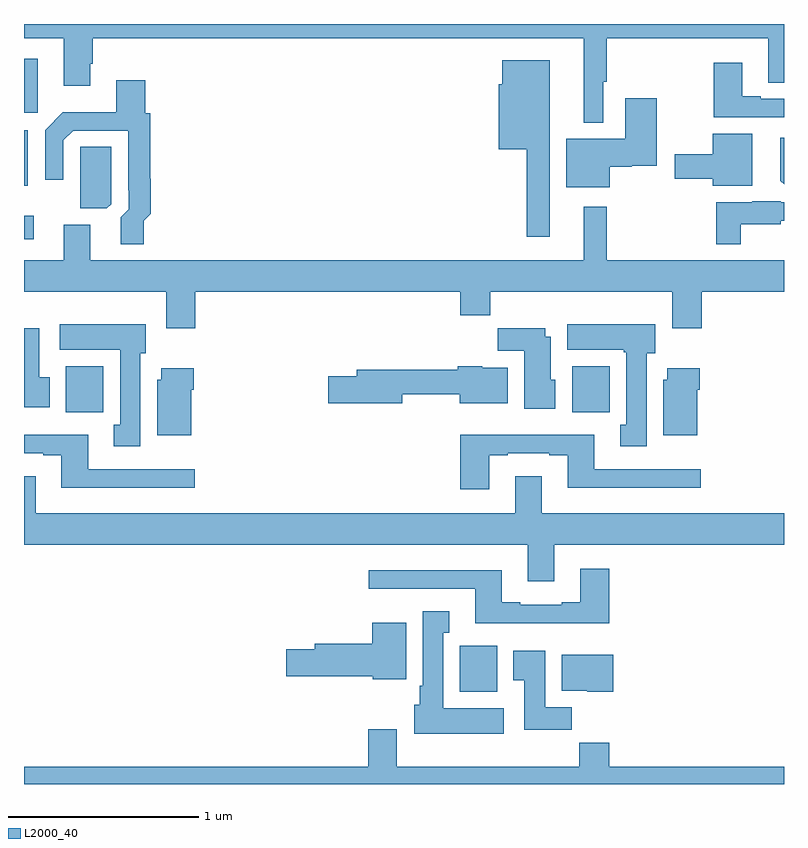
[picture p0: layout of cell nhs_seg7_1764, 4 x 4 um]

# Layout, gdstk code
import gdstk
lib = gdstk.Library(unit=1e-6, precision=1e-09)
def R(c, l, rs):  # rectangles x0, y0, x1, y1
    for r in rs: c.add(gdstk.rectangle(r[:2], r[2:], *l))
def P(c, l, *ps):  # polygons
    for p in ps: c.add(gdstk.Polygon(p, *l))
L2000_40 = (2000, 40)

nhs_seg7_1764 = lib.new_cell('nhs_seg7_1764')
R(nhs_seg7_1764, L2000_40, [(233.294,1022.486,233.491,1022.728), (231.221,1023.956,231.418,1024.198), (233.885,1023.956,234.082,1024.198), (231,1024.868,231.052,1024.99), (231,1025.15,231.019,1025.44), (231,1025.532,231.073,1025.818)])
P(nhs_seg7_1764, L2000_40, [(234.049,1025.695),(234.067,1025.695),(234.067,1025.924),(234.917,1025.924),(234.917,1025.692),(235,1025.692),(235,1026),(231,1026),(231,1025.924),(231.209,1025.924),(231.209,1025.676),(231.349,1025.676),(231.349,1025.791),(231.362,1025.791),(231.362,1025.924),(233.945,1025.924),(233.945,1025.48),(234.049,1025.48)],
  [(233.767,1025.809),(233.516,1025.809),(233.516,1025.682),(233.498,1025.682),(233.498,1025.342),(233.646,1025.342),(233.646,1024.881),(233.767,1024.881)],
  [(235,1025.607),(234.877,1025.607),(234.877,1025.62),(234.781,1025.62),(234.781,1025.797),(234.629,1025.797),(234.629,1025.51),(235,1025.51)],
  [(231.629,1024.964),(231.668,1025.002),(231.668,1025.186),(231.665,1025.186),(231.665,1025.529),(231.638,1025.529),(231.638,1025.704),(231.485,1025.704),(231.485,1025.536),(231.205,1025.536),(231.111,1025.442),(231.111,1025.18),(231.207,1025.18),(231.207,1025.388),(231.258,1025.439),(231.549,1025.439),(231.549,1025.125),(231.552,1025.125),(231.552,1025.025),(231.509,1024.982),(231.509,1024.842),(231.629,1024.842)],
  [(234.082,1025.248),(234.198,1025.248),(234.198,1025.255),(234.33,1025.255),(234.33,1025.608),(234.164,1025.608),(234.164,1025.395),(233.855,1025.395),(233.855,1025.141),(234.082,1025.141)],
  [(234.832,1025.422),(234.626,1025.422),(234.626,1025.314),(234.426,1025.314),(234.426,1025.185),(234.626,1025.185),(234.626,1025.15),(234.832,1025.15)],
  [(235,1025.401),(234.98,1025.401),(234.98,1025.176),(235,1025.156)],
  [(231.459,1025.052),(231.459,1025.354),(231.297,1025.354),(231.297,1025.243),(231.296,1025.243),(231.296,1025.029),(231.435,1025.029)],
  [(234.772,1024.946),(234.984,1024.946),(234.984,1024.965),(235,1024.965),(235,1025.061),(234.984,1025.061),(234.984,1025.068),(234.834,1025.068),(234.834,1025.062),(234.643,1025.062),(234.643,1024.841),(234.772,1024.841)],
  [(231.902,1024.592),(233.297,1024.592),(233.297,1024.468),(233.453,1024.468),(233.453,1024.592),(234.413,1024.592),(234.413,1024.398),(234.566,1024.398),(234.566,1024.592),(235,1024.592),(235,1024.756),(234.067,1024.756),(234.067,1025.038),(233.945,1025.038),(233.945,1024.756),(231.349,1024.756),(231.349,1024.944),(231.209,1024.944),(231.209,1024.756),(231,1024.756),(231,1024.592),(231.749,1024.592),(231.749,1024.398),(231.902,1024.398)],
  [(231.613,1024.266),(231.64,1024.266),(231.64,1024.42),(231.189,1024.42),(231.189,1024.286),(231.506,1024.286),(231.506,1023.89),(231.473,1023.89),(231.473,1023.777),(231.613,1023.777)],
  [(234.277,1024.266),(234.322,1024.266),(234.322,1024.42),(233.858,1024.42),(233.858,1024.286),(234.157,1024.286),(234.157,1024.273),(234.17,1024.273),(234.17,1023.89),(234.137,1023.89),(234.137,1023.777),(234.277,1023.777)],
  [(231.136,1024.14),(231.079,1024.14),(231.079,1024.399),(231,1024.399),(231,1023.984),(231.136,1023.984)],
  [(233.797,1024.128),(233.773,1024.128),(233.773,1024.354),(233.743,1024.354),(233.743,1024.399),(233.494,1024.399),(233.494,1024.28),(233.633,1024.28),(233.633,1023.974),(233.797,1023.974)],
  [(232.99,1024.051),(233.294,1024.051),(233.294,1024.004),(233.545,1024.004),(233.545,1024.192),(233.412,1024.192),(233.412,1024.198),(233.282,1024.198),(233.282,1024.18),(232.751,1024.18),(232.751,1024.146),(232.602,1024.146),(232.602,1024.004),(232.99,1024.004)],
  [(231.88,1024.076),(231.893,1024.076),(231.893,1024.189),(231.722,1024.189),(231.722,1024.128),(231.701,1024.128),(231.701,1023.836),(231.88,1023.836)],
  [(234.544,1024.076),(234.557,1024.076),(234.557,1024.189),(234.386,1024.189),(234.386,1024.128),(234.365,1024.128),(234.365,1023.836),(234.544,1023.836)],
  [(233.449,1023.729),(233.545,1023.729),(233.545,1023.741),(233.765,1023.741),(233.765,1023.729),(233.861,1023.729),(233.861,1023.56),(234.562,1023.56),(234.562,1023.657),(234.001,1023.657),(234.001,1023.838),(233.297,1023.838),(233.297,1023.552),(233.449,1023.552)],
  [(231.898,1023.657),(231.337,1023.657),(231.337,1023.838),(231,1023.838),(231,1023.741),(231.101,1023.741),(231.101,1023.729),(231.197,1023.729),(231.197,1023.56),(231.898,1023.56)],
  [(233.791,1023.26),(235,1023.26),(235,1023.424),(233.725,1023.424),(233.725,1023.619),(233.585,1023.619),(233.585,1023.424),(231.061,1023.424),(231.061,1023.619),(231,1023.619),(231,1023.26),(233.651,1023.26),(233.651,1023.066),(233.791,1023.066)],
  [(234.08,1023.133),(233.927,1023.133),(233.927,1022.956),(233.831,1022.956),(233.831,1022.943),(233.611,1022.943),(233.611,1022.956),(233.515,1022.956),(233.515,1023.124),(232.815,1023.124),(232.815,1023.027),(233.375,1023.027),(233.375,1022.846),(234.08,1022.846)],
  [(233.524,1022.398),(233.206,1022.398),(233.206,1022.795),(233.239,1022.795),(233.239,1022.908),(233.099,1022.908),(233.099,1022.518),(233.084,1022.518),(233.084,1022.418),(233.054,1022.418),(233.054,1022.264),(233.524,1022.264)],
  [(233.011,1022.848),(232.832,1022.848),(232.832,1022.738),(232.529,1022.738),(232.529,1022.708),(232.38,1022.708),(232.38,1022.566),(232.836,1022.566),(232.836,1022.552),(233.011,1022.552)],
  [(233.882,1022.404),(233.743,1022.404),(233.743,1022.701),(233.576,1022.701),(233.576,1022.545),(233.633,1022.545),(233.633,1022.286),(233.882,1022.286)],
  [(234.1,1022.68),(233.831,1022.68),(233.831,1022.492),(233.964,1022.492),(233.964,1022.486),(234.1,1022.486)],
  [(235,1022.092),(234.08,1022.092),(234.08,1022.216),(233.923,1022.216),(233.923,1022.092),(232.963,1022.092),(232.963,1022.287),(232.811,1022.287),(232.811,1022.092),(231,1022.092),(231,1022),(235,1022)])

lib.write_gds('nhs_seg7_1764.gds')
